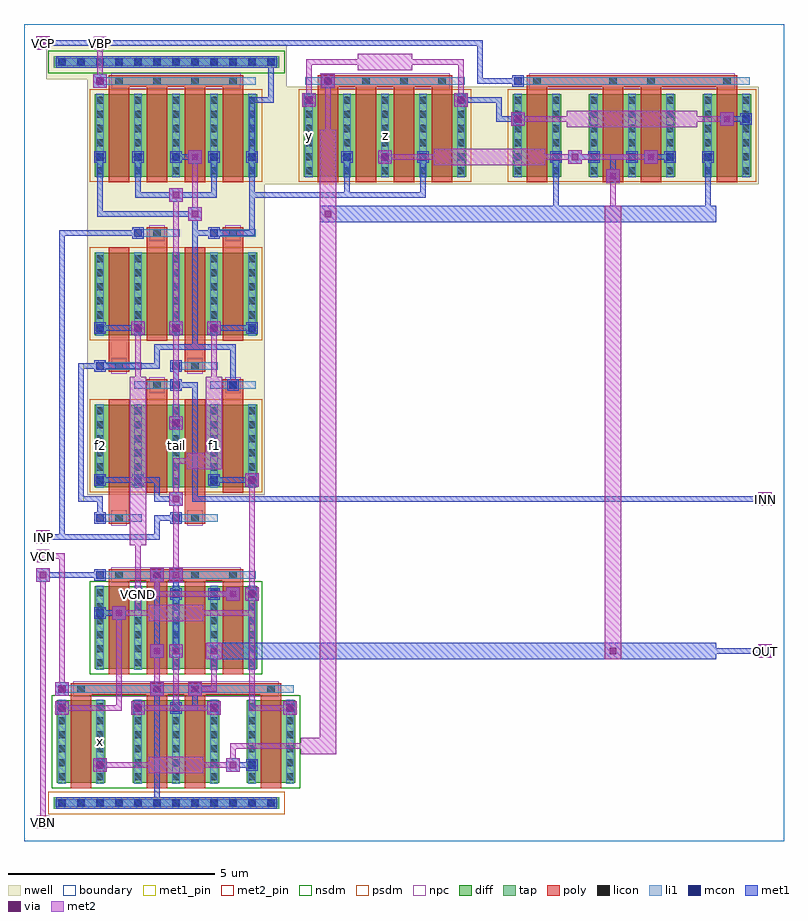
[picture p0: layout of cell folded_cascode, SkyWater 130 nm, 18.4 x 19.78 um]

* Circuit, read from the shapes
.subckt folded_cascode INN INP OUT VBN VBP VCN VCP VGND VPWR f1 f2 tail x y z
XM1 x VCN f1 VGND sky130_fd_pr__nfet_01v8 w=2 l=0.5 m=2
XM2 VGND VBN f1 VGND sky130_fd_pr__nfet_01v8 w=2 l=0.5 m=2
XM3 OUT VCN f2 VGND sky130_fd_pr__nfet_01v8 w=2 l=0.5 m=2
XM4 f2 VBN VGND VGND sky130_fd_pr__nfet_01v8 w=2 l=0.5 m=2
XM5 f2 VPWR f2 VPWR sky130_fd_pr__pfet_01v8 w=2 l=0.5 m=2
XM6 f1 VPWR f1 VPWR sky130_fd_pr__pfet_01v8 w=2 l=0.5 m=2
XM7 tail VBP VPWR VPWR sky130_fd_pr__pfet_01v8 w=2 l=0.5 m=4
XM8 tail INN f2 VPWR sky130_fd_pr__pfet_01v8 w=2 l=0.5 m=2
XM9 tail INP f1 VPWR sky130_fd_pr__pfet_01v8 w=2 l=0.5 m=2
XM10 VPWR x y VPWR sky130_fd_pr__pfet_01v8 w=2 l=0.5 m=2
XM11 z x VPWR VPWR sky130_fd_pr__pfet_01v8 w=2 l=0.5 m=2
XM12 x VCP y VPWR sky130_fd_pr__pfet_01v8 w=2 l=0.5 m=2
XM13 OUT VCP z VPWR sky130_fd_pr__pfet_01v8 w=2 l=0.5 m=2
.ends

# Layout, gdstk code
import gdstk
lib = gdstk.Library(unit=1e-6, precision=1e-09)
def R(c, l, rs):  # rectangles x0, y0, x1, y1
    for r in rs: c.add(gdstk.rectangle(r[:2], r[2:], *l))
def A(c, l, x, y, w, h, nx, ny, dx, dy):  # array of equal rectangles
    R(c, l, [(x+i*dx, y+j*dy, x+i*dx+w, y+j*dy+h) for i in range(nx) for j in range(ny)])
nwell = (64, 20)
diff = (65, 20)
tap = (65, 44)
poly = (66, 20)
licon = (66, 44)
li1 = (67, 20)
mcon = (67, 44)
met1_pin = (68, 16)
met1 = (68, 20)
via = (68, 44)
met2_pin = (69, 16)
met2 = (69, 20)
nsdm = (93, 44)
psdm = (94, 20)
npc = (95, 20)
boundary = (235, 4)

folded_cascode = lib.new_cell('folded_cascode')
R(folded_cascode, nwell, [(1.535,8.385,5.825,15.9), (1.535,15.9,17.785,18.26), (1.535,18.26,6.365,18.44), (0.535,18.44,6.365,19.28)])
R(folded_cascode, diff, [(0.795,1.405,1.965,3.405), (2.635,1.405,4.725,3.405), (5.395,1.405,6.565,3.405), (1.715,4.165,5.645,6.165), (1.715,8.565,5.645,10.565), (1.715,12.245,5.645,14.245), (1.715,16.08,5.645,18.08), (6.775,16.08,10.705,18.08), (11.835,16.08,13.005,18.08), (13.675,16.08,15.765,18.08), (16.435,16.08,17.605,18.08)])
R(folded_cascode, tap, [(0.715,0.775,6.185,1.065), (0.715,18.715,6.185,19.005)])
A(folded_cascode, poly, 2.05, 4.035, 0.5, 2.405, 4, 1, 0.92, 0)
A(folded_cascode, poly, 2.05, 15.95, 0.5, 2.45, 4, 1, 0.92, 0)
A(folded_cascode, poly, 7.11, 15.95, 0.5, 2.45, 4, 1, 0.92, 0)
R(folded_cascode, poly, [(1.13,1.275,1.63,3.68), (2.97,1.275,3.47,3.68), (3.89,1.275,4.39,3.68), (5.73,1.275,6.23,3.68), (1.13,3.545,6.23,3.815), (2.05,6.305,5.31,6.575), (2.05,7.685,2.55,7.955), (3.89,7.685,4.39,7.955), (2.05,7.82,2.55,10.695), (3.89,7.82,4.39,10.695), (2.97,8.435,3.47,11.04), (4.81,8.435,5.31,11.04), (2.97,10.905,3.47,11.175), (4.81,10.905,5.31,11.175), (2.05,11.365,2.55,11.635), (3.89,11.365,4.39,11.635), (2.05,11.5,2.55,14.375), (3.89,11.5,4.39,14.375), (2.97,12.115,3.47,14.72), (4.81,12.115,5.31,14.72), (2.97,14.585,3.47,14.855), (4.81,14.585,5.31,14.855), (12.17,15.95,12.67,18.4), (14.01,15.95,14.51,18.4), (14.93,15.95,15.43,18.4), (16.77,15.95,17.27,18.4), (2.05,18.265,5.31,18.535), (7.11,18.265,10.37,18.535), (12.17,18.265,17.27,18.535)])
A(folded_cascode, licon, 0.835, 0.835, 0.17, 0.17, 12, 2, 0.46, 17.94)
A(folded_cascode, licon, 0.835, 1.47, 0.17, 0.17, 7, 6, 0.92, 0.34)
A(folded_cascode, licon, 1.755, 4.23, 0.17, 0.17, 5, 6, 0.92, 0.34)
A(folded_cascode, licon, 2.215, 6.355, 0.17, 0.17, 4, 2, 0.92, 11.96)
A(folded_cascode, licon, 1.755, 8.63, 0.17, 0.17, 5, 6, 0.92, 0.34)
A(folded_cascode, licon, 1.755, 12.31, 0.17, 0.17, 5, 6, 0.92, 0.34)
A(folded_cascode, licon, 1.755, 16.145, 0.17, 0.17, 5, 6, 0.92, 0.34)
A(folded_cascode, licon, 6.815, 16.145, 0.17, 0.17, 5, 6, 0.92, 0.34)
A(folded_cascode, licon, 11.875, 16.145, 0.17, 0.17, 7, 6, 0.92, 0.34)
A(folded_cascode, licon, 7.275, 18.315, 0.17, 0.17, 4, 1, 0.92, 0)
R(folded_cascode, licon, [(1.295,3.595,1.465,3.765), (3.135,3.595,3.305,3.765), (4.055,3.595,4.225,3.765), (5.895,3.595,6.065,3.765), (2.215,7.735,2.385,7.905), (4.055,7.735,4.225,7.905), (3.135,10.955,3.305,11.125), (4.975,10.955,5.145,11.125), (2.215,11.415,2.385,11.585), (4.055,11.415,4.225,11.585), (3.135,14.635,3.305,14.805), (4.975,14.635,5.145,14.805), (12.335,18.315,12.505,18.485), (14.175,18.315,14.345,18.485), (15.095,18.315,15.265,18.485), (16.935,18.315,17.105,18.485)])
A(folded_cascode, li1, 0.835, 1.39, 0.17, 2.03, 7, 1, 0.92, 0)
A(folded_cascode, li1, 1.755, 4.15, 0.17, 2.03, 5, 2, 0.92, 4.4)
A(folded_cascode, li1, 1.755, 12.23, 0.17, 2.03, 5, 2, 0.92, 3.835)
A(folded_cascode, li1, 6.815, 16.065, 0.17, 2.03, 5, 1, 0.92, 0)
A(folded_cascode, li1, 11.875, 16.065, 0.17, 2.03, 7, 1, 0.92, 0)
R(folded_cascode, li1, [(0.755,0.835,6.145,1.005), (0.835,3.595,6.525,3.765), (1.755,6.355,5.605,6.525), (1.755,7.735,2.845,7.905), (3.595,7.735,4.685,7.905), (2.675,10.955,3.765,11.125), (4.515,10.955,5.605,11.125), (1.755,11.415,2.845,11.585), (3.595,11.415,4.685,11.585), (2.675,14.635,3.765,14.805), (4.515,14.635,5.605,14.805), (1.755,18.315,5.605,18.485), (6.815,18.315,10.665,18.485), (11.875,18.315,17.565,18.485), (0.755,18.775,6.145,18.945)])
A(folded_cascode, mcon, 0.835, 0.835, 0.17, 0.17, 12, 2, 0.46, 17.94)
A(folded_cascode, mcon, 2.675, 3.135, 0.17, 0.17, 3, 1, 0.92, 0)
A(folded_cascode, mcon, 2.675, 5.895, 0.17, 0.17, 4, 1, 0.92, 0)
A(folded_cascode, mcon, 1.755, 12.335, 0.17, 0.17, 5, 2, 0.92, 4.14)
A(folded_cascode, mcon, 7.735, 16.475, 0.17, 0.17, 3, 1, 0.92, 0)
A(folded_cascode, mcon, 12.795, 16.475, 0.17, 0.17, 5, 1, 0.92, 0)
R(folded_cascode, mcon, [(1.755,1.755,1.925,1.925), (5.435,1.755,5.605,1.925), (0.835,3.135,1.005,3.305), (6.355,3.135,6.525,3.305), (0.835,3.595,1.005,3.765), (1.755,5.435,1.925,5.605), (1.755,6.355,1.925,6.525), (1.755,7.735,1.925,7.905), (3.595,7.735,3.765,7.905), (1.755,8.655,1.925,8.825), (2.675,8.655,2.845,8.825), (4.515,8.655,4.685,8.825), (5.435,8.655,5.605,8.825), (3.595,10.035,3.765,10.205), (3.595,10.955,3.765,11.125), (4.975,10.955,5.145,11.125), (1.755,11.415,1.925,11.585), (3.595,11.415,3.765,11.585), (2.675,14.635,2.845,14.805), (4.515,14.635,4.685,14.805), (11.875,17.395,12.045,17.565), (17.395,17.395,17.565,17.565), (6.815,17.855,6.985,18.025), (10.495,17.855,10.665,18.025), (1.755,18.315,1.925,18.485), (7.275,18.315,7.445,18.485), (11.875,18.315,12.045,18.485)])
R(folded_cascode, met1_pin, [(2.615,5.835,2.905,6.125), (1.31,8.21,1.45,11.57)])
A(folded_cascode, met1, 0.76, 3.06, 0.32, 0.32, 4, 1, 1.84, 0)
A(folded_cascode, met1, 2.615, 3.075, 0.29, 0.29, 3, 1, 0.92, 0)
A(folded_cascode, met1, 3.52, 4.44, 0.32, 0.32, 1, 4, 0, 1.84)
A(folded_cascode, met1, 2.615, 5.835, 0.29, 0.29, 4, 1, 0.92, 0)
A(folded_cascode, met1, 2.6, 12.26, 0.32, 0.32, 3, 1, 0.92, 0)
A(folded_cascode, met1, 1.695, 12.275, 0.29, 0.29, 5, 2, 0.92, 4.14)
A(folded_cascode, met1, 3.98, 16.4, 0.32, 0.32, 3, 1, 4.6, 0)
A(folded_cascode, met1, 7.675, 16.415, 0.29, 0.29, 3, 1, 0.92, 0)
A(folded_cascode, met1, 12.735, 16.415, 0.29, 0.29, 5, 1, 0.92, 0)
A(folded_cascode, met1, 13.27, 16.49, 0.6, 0.14, 3, 1, 0.92, 0)
R(folded_cascode, met1, [(0.775,0.775,6.125,1.065), (3.15,0.85,3.29,3.75), (3.15,0.85,3.29,0.99), (1.68,1.68,2,2), (4.9,1.68,5.22,2), (1.695,1.695,1.985,1.985), (5.375,1.695,5.665,1.985), (4.99,1.77,5.59,1.91), (0.775,3.075,1.065,3.365), (6.295,3.075,6.585,3.365), (3.61,3.15,4.21,3.29), (4.07,3.15,4.21,3.75), (0.76,3.52,1.08,3.84), (3.06,3.52,3.38,3.84), (3.98,3.52,4.3,3.84), (0.775,3.535,1.065,3.825), (4.4,4.4,16.76,4.8), (4.4,4.4,4.8,4.8), (14.06,4.4,14.46,4.8), (3.06,4.44,3.38,4.76), (17.78,4.44,18.1,4.76), (3.15,4.53,3.29,6.05), (3.61,4.53,3.75,6.05), (16.49,4.53,18.01,4.67), (2.14,5.36,2.46,5.68), (1.695,5.375,1.985,5.665), (1.77,5.45,2.37,5.59), (4.9,5.82,5.22,6.14), (5.36,5.82,5.68,6.14), (2.69,5.91,3.29,6.05), (3.15,5.91,3.29,6.51), (3.61,5.91,3.75,6.51), (4.53,5.91,5.13,6.05), (0.3,6.28,0.62,6.6), (3.06,6.28,3.38,6.6), (1.695,6.295,1.985,6.585), (0.39,6.37,1.91,6.51), (0.3,7.2,0.62,7.52), (0.39,7.29,3.29,7.43), (0.85,7.29,0.99,14.79), (3.15,7.29,3.29,7.89), (1.695,7.675,1.985,7.965), (3.535,7.675,3.825,7.965), (1.77,7.75,1.91,8.35), (3.15,7.75,3.75,7.89), (17.78,8.12,18.1,8.44), (1.31,8.21,1.45,11.57), (1.31,8.21,1.91,8.35), (3.15,8.21,3.29,8.81), (3.15,8.21,3.75,8.35), (4.07,8.21,4.21,11.11), (4.07,8.21,18.01,8.35), (5.36,8.58,5.68,8.9), (1.695,8.595,1.985,8.885), (2.615,8.595,2.905,8.885), (4.455,8.595,4.745,8.885), (5.375,8.595,5.665,8.885), (1.77,8.67,2.83,8.81), (2.69,8.67,3.29,8.81), (4.53,8.67,5.59,8.81), (3.535,9.975,3.825,10.265), (3.535,10.895,3.825,11.185), (4.915,10.895,5.205,11.185), (3.61,10.97,3.75,11.57), (3.61,10.97,4.21,11.11), (4.99,10.97,5.13,12.03), (1.695,11.355,1.985,11.645), (3.535,11.355,3.825,11.645), (1.31,11.43,1.91,11.57), (1.77,11.43,3.29,11.57), (3.15,11.43,3.29,12.03), (3.15,11.89,5.13,12.03), (4.07,11.89,4.21,14.79), (1.77,12.35,2.83,12.49), (4.53,12.35,5.59,12.49), (2.615,14.575,2.905,14.865), (4.455,14.575,4.745,14.865), (0.85,14.65,2.83,14.79), (4.07,14.65,4.21,15.25), (4.07,14.65,4.67,14.79), (4.53,14.65,5.59,14.79), (5.45,14.65,5.59,16.63), (7.16,14.98,13.08,15.38), (7.16,14.98,7.56,15.38), (12.68,14.98,16.76,15.38), (3.98,15.02,4.3,15.34), (1.77,15.11,1.91,16.63), (1.77,15.11,4.21,15.25), (12.81,15.11,12.95,16.63), (16.49,15.11,16.63,16.63), (3.52,15.48,3.84,15.8), (2.69,15.57,3.75,15.71), (2.69,15.57,2.83,16.63), (3.61,15.57,4.67,15.71), (4.53,15.57,4.67,16.63), (5.45,15.57,7.89,15.71), (7.75,15.57,9.73,15.71), (7.75,15.57,7.89,16.63), (9.59,15.57,9.73,16.63), (14.1,15.94,14.42,16.26), (14.19,16.03,14.33,16.63), (15.02,16.4,15.34,16.72), (3.61,16.49,4.21,16.63), (5.45,16.49,5.59,18.01), (11.8,17.32,12.12,17.64), (16.86,17.32,17.18,17.64), (11.815,17.335,12.105,17.625), (17.335,17.335,17.625,17.625), (11.43,17.41,11.57,18.01), (11.43,17.41,12.03,17.55), (16.95,17.41,17.55,17.55), (6.74,17.78,7.06,18.1), (10.42,17.78,10.74,18.1), (6.755,17.795,7.045,18.085), (10.435,17.795,10.725,18.085), (5.45,17.87,6.05,18.01), (5.91,17.87,6.05,18.93), (10.51,17.87,11.57,18.01), (1.68,18.24,2,18.56), (7.2,18.24,7.52,18.56), (1.695,18.255,1.985,18.545), (7.215,18.255,7.505,18.545), (11.815,18.255,12.105,18.545), (10.97,18.33,12.03,18.47), (10.97,18.33,11.11,19.39), (0.775,18.715,6.125,19.005), (5.91,18.79,6.05,18.93), (0.3,19.16,0.62,19.48), (0.39,19.25,11.11,19.39)])
A(folded_cascode, via, 0.845, 3.145, 0.15, 0.15, 4, 1, 1.84, 0)
A(folded_cascode, via, 3.605, 4.525, 0.15, 0.15, 1, 4, 0, 1.84)
A(folded_cascode, via, 2.685, 12.345, 0.15, 0.15, 3, 1, 0.92, 0)
A(folded_cascode, via, 4.065, 16.485, 0.15, 0.15, 3, 1, 4.6, 0)
R(folded_cascode, via, [(1.765,1.765,1.915,1.915), (4.985,1.765,5.135,1.915), (0.845,3.605,0.995,3.755), (3.145,3.605,3.295,3.755), (4.065,3.605,4.215,3.755), (3.145,4.525,3.295,4.675), (4.525,4.525,4.675,4.675), (14.185,4.525,14.335,4.675), (17.865,4.525,18.015,4.675), (2.225,5.445,2.375,5.595), (4.985,5.905,5.135,6.055), (5.445,5.905,5.595,6.055), (0.385,6.365,0.535,6.515), (3.145,6.365,3.295,6.515), (0.385,7.285,0.535,7.435), (17.865,8.205,18.015,8.355), (5.445,8.665,5.595,8.815), (4.065,15.105,4.215,15.255), (7.285,15.105,7.435,15.255), (3.605,15.565,3.755,15.715), (14.185,16.025,14.335,16.175), (15.105,16.485,15.255,16.635), (11.885,17.405,12.035,17.555), (16.945,17.405,17.095,17.555), (6.825,17.865,6.975,18.015), (10.505,17.865,10.655,18.015), (1.765,18.325,1.915,18.475), (7.285,18.325,7.435,18.475), (0.385,19.245,0.535,19.395)])
R(folded_cascode, met2_pin, [(0.31,0.31,0.61,0.61), (17.79,4.45,18.09,4.75), (0.31,6.75,0.61,7.05), (0.31,7.21,0.61,7.51), (17.79,8.13,18.09,8.43), (0.31,19.17,0.61,19.47), (1.69,19.17,1.99,19.47)])
A(folded_cascode, met2, 0.76, 3.06, 0.32, 0.32, 4, 1, 1.84, 0)
A(folded_cascode, met2, 3.52, 4.44, 0.32, 0.32, 1, 4, 0, 1.84)
A(folded_cascode, met2, 2.6, 12.26, 0.32, 0.32, 3, 1, 0.92, 0)
A(folded_cascode, met2, 3.98, 16.4, 0.32, 0.32, 3, 1, 4.6, 0)
R(folded_cascode, met2, [(0.31,0.31,0.61,0.61), (0.39,0.39,0.53,0.53), (0.39,0.39,0.53,6.51), (3.02,1.64,4.34,2.04), (1.68,1.68,2,2), (4.9,1.68,5.22,2), (1.77,1.77,3.29,1.91), (4.07,1.77,5.13,1.91), (4.99,1.77,5.13,2.37), (6.7,2.1,7.56,2.5), (7.16,2.1,7.56,17.22), (4.99,2.23,6.97,2.37), (0.85,3.15,2.37,3.29), (2.23,3.15,2.37,5.59), (2.69,3.15,3.75,3.29), (3.61,3.15,4.67,3.29), (3.61,3.15,3.75,4.67), (5.45,3.15,6.51,3.29), (5.45,3.15,5.59,6.05), (0.76,3.52,1.08,3.84), (3.06,3.52,3.38,3.84), (3.98,3.52,4.3,3.84), (0.85,3.61,0.99,6.97), (3.15,3.61,3.29,4.67), (4.07,3.61,4.67,3.75), (4.53,3.61,4.67,4.67), (4.4,4.4,4.8,4.8), (14.06,4.4,14.46,15.38), (14.06,4.4,14.46,4.8), (3.06,4.44,3.38,4.76), (17.78,4.44,18.1,4.76), (17.79,4.45,18.09,4.75), (17.87,4.53,18.01,4.67), (3.02,5.32,4.34,5.72), (2.14,5.36,2.46,5.68), (2.23,5.45,3.29,5.59), (2.69,5.45,2.83,7.43), (4.07,5.45,5.59,5.59), (4.9,5.82,5.22,6.14), (5.36,5.82,5.68,6.14), (3.15,5.91,5.13,6.05), (3.15,5.91,3.29,6.51), (5.45,5.91,5.59,8.81), (0.3,6.28,0.62,6.6), (3.06,6.28,3.38,6.6), (3.61,6.37,3.75,8.35), (0.31,6.75,0.61,7.05), (0.39,6.83,0.53,6.97), (0.39,6.83,0.99,6.97), (2.56,7.16,2.96,11.24), (0.3,7.2,0.62,7.52), (0.31,7.21,0.61,7.51), (0.39,7.29,0.53,7.43), (17.78,8.12,18.1,8.44), (17.79,8.13,18.09,8.43), (3.61,8.21,3.75,9.27), (17.87,8.21,18.01,8.35), (5.36,8.58,5.68,8.9), (3.94,9,4.8,9.4), (4.4,9,4.8,11.24), (3.61,9.13,4.21,9.27), (3.61,10.05,3.75,12.49), (2.69,10.97,2.83,12.49), (4.53,10.97,4.67,12.49), (3.61,12.35,3.75,15.71), (7.16,14.98,7.56,15.38), (3.98,15.02,4.3,15.34), (4.07,15.11,4.21,16.63), (14.19,15.11,14.33,16.17), (3.52,15.48,3.84,15.8), (14.1,15.94,14.42,16.26), (9.92,16.36,12.62,16.76), (15.02,16.4,15.34,16.72), (8.67,16.49,10.19,16.63), (12.35,16.49,13.41,16.63), (13.27,16.49,15.25,16.63), (7.29,16.95,7.43,18.47), (13.14,17.28,16.3,17.68), (11.8,17.32,12.12,17.64), (16.86,17.32,17.18,17.64), (11.89,17.41,13.41,17.55), (16.03,17.41,17.09,17.55), (6.74,17.78,7.06,18.1), (10.42,17.78,10.74,18.1), (6.83,17.87,6.97,18.93), (10.51,17.87,10.65,18.93), (1.68,18.24,2,18.56), (7.2,18.24,7.52,18.56), (1.77,18.33,1.91,19.39), (8.08,18.66,9.4,19.06), (6.83,18.79,8.35,18.93), (9.13,18.79,10.65,18.93), (0.3,19.16,0.62,19.48), (0.31,19.17,0.61,19.47), (1.69,19.17,1.99,19.47), (0.39,19.25,0.53,19.39), (1.77,19.25,1.91,19.39)])
R(folded_cascode, nsdm, [(0.67,1.28,6.69,3.53), (1.59,4.04,5.77,6.29), (0.59,18.59,6.31,19.13)])
R(folded_cascode, psdm, [(0.59,0.65,6.31,1.19), (1.59,8.44,5.77,10.69), (1.59,12.12,5.77,14.37), (1.59,15.955,5.77,18.205), (6.65,15.955,10.83,18.205), (11.71,15.955,17.73,18.205)])
R(folded_cascode, npc, [(1.195,3.495,6.165,3.865), (2.115,6.255,5.245,6.625), (2.115,7.635,2.485,8.005), (3.955,7.635,4.325,8.005), (3.035,10.855,3.405,11.225), (4.875,10.855,5.245,11.225), (2.115,11.315,2.485,11.685), (3.955,11.315,4.325,11.685), (3.035,14.535,3.405,14.905), (4.875,14.535,5.245,14.905), (2.115,18.215,5.245,18.585), (7.175,18.215,10.305,18.585), (12.235,18.215,17.205,18.585)])
R(folded_cascode, boundary, [(0,0,18.4,19.78)])
folded_cascode.add(gdstk.Label('f2', (1.84,9.565), layer=67, texttype=5))
folded_cascode.add(gdstk.Label('tail', (3.68,9.565), layer=67, texttype=5))
folded_cascode.add(gdstk.Label('f1', (4.6,9.565), layer=67, texttype=5))
folded_cascode.add(gdstk.Label('x', (1.84,2.405), layer=67, texttype=5))
folded_cascode.add(gdstk.Label('y', (6.9,17.08), layer=67, texttype=5))
folded_cascode.add(gdstk.Label('z', (8.74,17.08), layer=67, texttype=5))
folded_cascode.add(gdstk.Label('VPWR', (1.38,9.89), layer=68, texttype=5))
folded_cascode.add(gdstk.Label('VGND', (2.76,5.98), layer=68, texttype=5))
folded_cascode.add(gdstk.Label('INP', (0.46,7.36), layer=69, texttype=5))
folded_cascode.add(gdstk.Label('INN', (17.94,8.28), layer=69, texttype=5))
folded_cascode.add(gdstk.Label('VBP', (1.84,19.32), layer=69, texttype=5))
folded_cascode.add(gdstk.Label('VBN', (0.46,0.46), layer=69, texttype=5))
folded_cascode.add(gdstk.Label('VCN', (0.46,6.9), layer=69, texttype=5))
folded_cascode.add(gdstk.Label('VCP', (0.46,19.32), layer=69, texttype=5))
folded_cascode.add(gdstk.Label('OUT', (17.94,4.6), layer=69, texttype=5))
folded_cascode.add(gdstk.Label('VPWR', (1.38,9.89), layer=68, texttype=16))
folded_cascode.add(gdstk.Label('VGND', (2.76,5.98), layer=68, texttype=16))
folded_cascode.add(gdstk.Label('INP', (0.46,7.36), layer=69, texttype=16))
folded_cascode.add(gdstk.Label('INN', (17.94,8.28), layer=69, texttype=16))
folded_cascode.add(gdstk.Label('VBP', (1.84,19.32), layer=69, texttype=16))
folded_cascode.add(gdstk.Label('VBN', (0.46,0.46), layer=69, texttype=16))
folded_cascode.add(gdstk.Label('VCN', (0.46,6.9), layer=69, texttype=16))
folded_cascode.add(gdstk.Label('VCP', (0.46,19.32), layer=69, texttype=16))
folded_cascode.add(gdstk.Label('OUT', (17.94,4.6), layer=69, texttype=16))

lib.write_gds('folded_cascode.gds')
